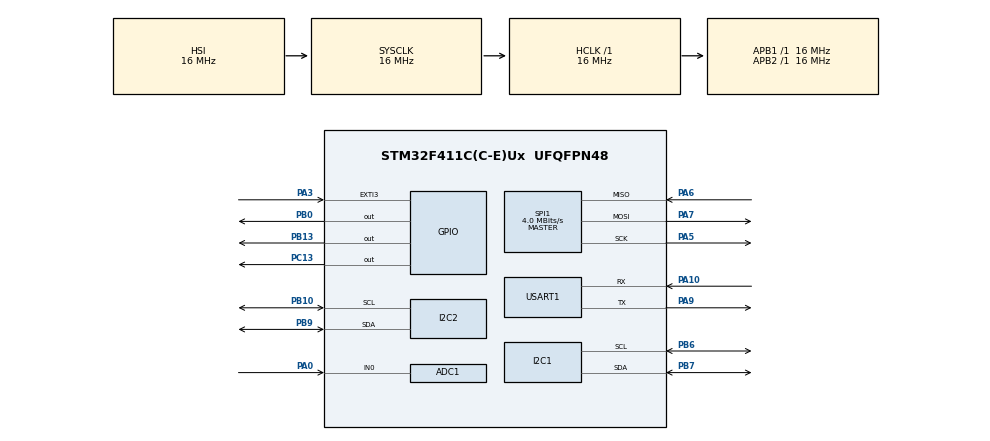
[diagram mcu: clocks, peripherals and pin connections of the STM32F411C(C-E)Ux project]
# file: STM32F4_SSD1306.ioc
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ADC1.Channel-0\#ChannelRegularConversion=ADC_CHANNEL_0
ADC1.NbrOfConversionFlag=1
ADC1.Rank-0\#ChannelRegularConversion=1
ADC1.SamplingTime-0\#ChannelRegularConversion=ADC_SAMPLETIME_3CYCLES
ADC1.master=1
Mcu.Family=STM32F4
Mcu.Name=STM32F411C(C-E)Ux
Mcu.Package=UFQFPN48
NVIC.EXTI3_IRQn=true\:1\:0\:true\:false\:true\:true\:true\:true
NVIC.PriorityGroup=NVIC_PRIORITYGROUP_4
NVIC.SPI1_IRQn=true\:10\:0\:true\:false\:true\:true\:true\:true
NVIC.TIM2_IRQn=true\:14\:0\:true\:false\:true\:true\:true\:true
NVIC.USART1_IRQn=true\:3\:0\:true\:false\:true\:true\:true\:true
PA0-WKUP.Signal=ADCx_IN0
PA10.Mode=Asynchronous
PA10.Signal=USART1_RX
PA13.Mode=Serial_Wire
PA13.Signal=SYS_JTMS-SWDIO
PA14.Mode=Serial_Wire
PA14.Signal=SYS_JTCK-SWCLK
PA3.GPIO_ModeDefaultEXTI=GPIO_MODE_IT_FALLING
PA3.GPIO_PuPd=GPIO_PULLUP
PA3.Signal=GPXTI3
PA5.Mode=Full_Duplex_Master
PA5.Signal=SPI1_SCK
PA6.Mode=Full_Duplex_Master
PA6.Signal=SPI1_MISO
PA7.Mode=Full_Duplex_Master
PA7.Signal=SPI1_MOSI
PA9.Mode=Asynchronous
PA9.Signal=USART1_TX
PB0.PinState=GPIO_PIN_SET
PB0.Signal=GPIO_Output
PB10.Mode=I2C
PB10.Signal=I2C2_SCL
PB13.Signal=GPIO_Output
PB6.Mode=I2C
PB6.Signal=I2C1_SCL
PB7.Mode=I2C
PB7.Signal=I2C1_SDA
PB9.Mode=I2C
PB9.Signal=I2C2_SDA
PC13-ANTI_TAMP.Signal=GPIO_Output
ProjectManager.HeapSize=0x200
ProjectManager.StackSize=0x400
ProjectManager.TargetToolchain=STM32CubeIDE
RCC.48MHZClocksFreq_Value=48000000
RCC.AHBFreq_Value=16000000
RCC.APB1Freq_Value=16000000
RCC.APB1TimFreq_Value=16000000
RCC.APB2Freq_Value=16000000
RCC.APB2TimFreq_Value=16000000
RCC.CortexFreq_Value=16000000
RCC.HCLKFreq_Value=16000000
RCC.HSE_VALUE=25000000
RCC.HSI_VALUE=16000000
RCC.LSE_VALUE=32768
RCC.PLLP=RCC_PLLP_DIV8
RCC.SYSCLKFreq_VALUE=16000000
RCC.VCOOutputFreq_Value=192000000
SH.ADCx_IN0.0=ADC1_IN0,IN0
SPI1.BaudRatePrescaler=SPI_BAUDRATEPRESCALER_4
SPI1.CalculateBaudRate=4.0 MBits/s
SPI1.Direction=SPI_DIRECTION_2LINES
SPI1.Mode=SPI_MODE_MASTER
SPI1.VirtualType=VM_MASTER
TIM2.Period=999
TIM2.Prescaler=16
TIM3.Prescaler=16
USART1.VirtualMode=VM_ASYNC
VP_TIM2_VS_ClockSourceINT.Mode=Internal
VP_TIM3_VS_ClockSourceINT.Mode=Internal
board=custom

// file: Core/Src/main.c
/* USER CODE BEGIN Header */
/**
 ******************************************************************************
 * @file           : main.c
 * @brief          : Main program body
 ******************************************************************************
 * @attention
 *
 * Copyright (c) 2023 STMicroelectronics.
 * All rights reserved.
 *
 * This software is licensed under terms that can be found in the LICENSE file
 * in the root directory of this software component.
 * If no LICENSE file comes with this software, it is provided AS-IS.
 *
 ******************************************************************************
 */
/* USER CODE END Header */
#include "main.h"

/* USER CODE BEGIN Includes */
#include "stdio.h"
#include "stdbool.h"
#include "stdlib.h"
#include "stdint.h"
#include "SSD1306/ssd1306.h"
#include "SSD1306/menu.h"
#include "string.h"
#include "DHT11/dht.h"
#include "MQ135/MQ135.h"
#include "DS1307/DS1307.h"
#include "W25Q32/W25Q32.h"
/* USER CODE END Includes */

/* USER CODE BEGIN PD */
#define FLASH_SECTOR		4096			// 4KB
#define FLASH_ARRAY_SIZE	1024			// 1024 * FLASH_SECTOR_SIZE
/* USER CODE END PD */

ADC_HandleTypeDef hadc1;

I2C_HandleTypeDef hi2c1;
I2C_HandleTypeDef hi2c2;

SPI_HandleTypeDef hspi1;

TIM_HandleTypeDef htim2;
TIM_HandleTypeDef htim3;

UART_HandleTypeDef huart1;

/* USER CODE BEGIN PV */
bool rx_spi_flg;
uint64_t sys_tick = 0;					// 1ms
uint64_t last_tick = 0;
uint64_t get_inf_tick = 0;
bool btn1_status = false;
uint8_t menu_ind0 = 0;
uint8_t last_meu_ind0 = 0;
uint8_t menu_ind1 = 0;
uint8_t last_meu_ind1 = 0;
uint8_t menu_ind2 = 0;
uint8_t last_meu_ind2 = 0;
uint8_t menu_lv = 0;
uint8_t last_menu_lv = 0;
uint8_t menu_i[3];
uint8_t last_menu_i[3];

uint8_t uart_buff_cnt = 0;
uint8_t chr;						// get byte from uart
uint8_t tx_buf[100];
uint8_t rx_buf[100];
uint8_t uart_buf_overflow = 0;
bool rx_done = 0;
uint64_t uart_last_receive = 0;
const uint8_t UART_TIMEOUT = 1;		// uart timeout

char *DayOfWeek[] = { "Sunday", "Monday", "Tuesday", "Wednesday", "Thursday",
		"Friday", "Saturday" };
uint8_t *day;
uint8_t temp[200];
uint8_t rsp[] = "\tOK\n";
uint32_t ADC_val;
int dow_u, sec_u, min_u, hrs_u, date_u, mon_u;
int year_u;

Air_param_t aqi1;
DS1307_param_t ds1307;
dht11_t dht11;

uint8_t rx_spi[64];
uint16_t fl_i = 0;				// flash array index
uint8_t value[100];
/* byte 0: temperature
 * byte 1: humidity
 * byte 2(hi), 3(lo): acetone
 * byte 4(hi), 5(lo): alcohol
 * byte 6(hi), 7(lo): CO
 * byte 8(hi), 9(lo): CO2
 * byte 10(hi), 11(lo): NH4
 * byte 12(hi), 13(lo): Toluen
 */
uint16_t dataReg[8];

uint8_t er_dht1[] = "ER1 - Can't get DHT11 value";
uint8_t er_mq1[] = "ER2 - Can't get MQ135 value";
/* USER CODE END PV */

void SystemClock_Config(void);
static void MX_GPIO_Init(void);
static void MX_I2C1_Init(void);
static void MX_TIM2_Init(void);
static void MX_USART1_UART_Init(void);
static void MX_ADC1_Init(void);
static void MX_I2C2_Init(void);
static void MX_TIM3_Init(void);
static void MX_SPI1_Init(void);
/* USER CODE BEGIN PFP */
void Update_Screen(I2C_HandleTypeDef *hi2c);
void Display_First_Screen(I2C_HandleTypeDef *hi2c);
void HAL_GPIO_EXTI_Callback(uint16_t GPIO_Pin);
void Update_Screen(I2C_HandleTypeDef *hi2c);

void getValue();
void saveValue();				// write value to W25Q32
void readValue(uint16_t index);				// read value from W25Q32

void HandleCommand();
void HAL_UART_RxCpltCallback(UART_HandleTypeDef *huart);
void HAL_SPI_TxRxCpltCallback(SPI_HandleTypeDef *hspi);
uint8_t* checkDay_i(uint8_t dow);
uint8_t checkDay_a(uint8_t *Day);

void HAL_ADC_ConvCpltCallback(ADC_HandleTypeDef *hadc);
void getADC_value(ADC_HandleTypeDef *hadc, uint32_t Timeout, uint32_t *ADC_val);
/* USER CODE END PFP */

int main(void) {

	/* MCU Configuration--------------------------------------------------------*/

	/* Reset of all peripherals, Initializes the Flash interface and the Systick. */
	HAL_Init();

	/* Configure the system clock */
	SystemClock_Config();

	/* Initialize all configured peripherals */
	MX_GPIO_Init();
	MX_I2C1_Init();
	MX_TIM2_Init();
	MX_USART1_UART_Init();
	MX_ADC1_Init();
	MX_I2C2_Init();
	MX_TIM3_Init();
	MX_SPI1_Init();
	/* USER CODE BEGIN 2 */
	HAL_TIM_Base_Start_IT(&htim2);
	HAL_TIM_Base_Start(&htim3);
	ssd1306_Init(&hi2c1);
	W25Q32_Init(&hspi1, GPIOB, GPIO_PIN_0);
	init_dht11(&dht11, &htim3, GPIOB, GPIO_PIN_13);
	DS1307_config(&hi2c2);
	DS1307_settime(&hi2c2, 00, 33, 14, 6, 8, 9, 2023);
	HAL_UART_Receive_IT(&huart1, &chr, sizeof(chr));
	HAL_GPIO_WritePin(GPIOC, GPIO_PIN_13, 0);
	Display_First_Screen(&hi2c1);
	/* USER CODE END 2 */

	/* Infinite loop */
	/* USER CODE BEGIN WHILE */
	while (1) {
		HandleCommand();
		if (sys_tick - get_inf_tick >= 10000) {
			DS1307_gettime(&hi2c2, &ds1307);
			day = checkDay_i(ds1307.dow);
			sprintf((char*) tx_buf, "[%d]\n%-9s %02d:%02d:%02d %02d/%02d/%d\n",
					(int) (sys_tick / 1000), day, ds1307.hour, ds1307.min,
					ds1307.sec, ds1307.date, ds1307.month, ds1307.year);
			HAL_UART_Transmit(&huart1, tx_buf, strlen((char*) tx_buf), 200);
			memset(tx_buf, 0, strlen((char*) tx_buf));
			HAL_GPIO_TogglePin(GPIOC, GPIO_PIN_13);
			getADC_value(&hadc1, 1000, &ADC_val);
			readDHT11(&dht11);
//		sprintf((char*) temp, "%d %d aaa\n", (int) dht11.temperature,
//				(int) dht11.humidty);
//		HAL_UART_Transmit(&huart1, temp, strlen((char*) temp), 200);
//		memset(tx_buf, 0, strlen((char*) tx_buf));
			if (dht11.temperature == 0 || dht11.humidty == 0) {
				getAQI_val(&aqi1, ADC_val);
				if (ADC_val == 0) {
					HAL_UART_Transmit(&huart1, er_mq1, strlen((char*) er_mq1),
							200);
				} else {
					HAL_UART_Transmit(&huart1, er_dht1, strlen((char*) er_dht1),
							200);
					sprintf((char*) temp,
							"Acetone: %d  Alcohol: %d  CO: %d  CO2: %d  NH4: %d  Toluene: %d  ADC value: %d\n\n",
							(int) aqi1.Acetone, (int) aqi1.Alcohol,
							(int) aqi1.CO, (int) aqi1.CO2, (int) aqi1.NH4,
							(int) aqi1.Toluene, (int) ADC_val);
					HAL_UART_Transmit(&huart1, temp, strlen((char*) temp), 200);
					memset(temp, 0, sizeof(temp));
				}
			} else {
				if (ADC_val == 0) {
					HAL_UART_Transmit(&huart1, er_mq1, strlen((char*) er_mq1),
							200);
				} else {
					getAQI_Correctval(&aqi1, dht11.temperature, dht11.humidty,
							ADC_val);
					sprintf((char*) temp,
							"Acetone: %d  Alcohol: %d  CO: %d  CO2: %d  NH4: %d  Toluene: %d  ADC value: %d\nTemperature: %d  Humidity: %d\n\n",
							(int) aqi1.Acetone, (int) aqi1.Alcohol,
							(int) aqi1.CO, (int) aqi1.CO2, (int) aqi1.NH4,
							(int) aqi1.Toluene, (int) ADC_val,
							(int) dht11.temperature, (int) dht11.humidty);
					HAL_UART_Transmit(&huart1, temp, strlen((char*) temp), 200);
					memset(temp, 0, sizeof(temp));
				}
			}
			saveValue();
			get_inf_tick = sys_tick;
		}
		Update_Screen(&hi2c1);
	}
	/* USER CODE END WHILE */

}

void SystemClock_Config(void) {
	RCC_OscInitTypeDef RCC_OscInitStruct = { 0 };
	RCC_ClkInitTypeDef RCC_ClkInitStruct = { 0 };

	/** Configure the main internal regulator output voltage
	 */
	__HAL_RCC_PWR_CLK_ENABLE();
	__HAL_PWR_VOLTAGESCALING_CONFIG(PWR_REGULATOR_VOLTAGE_SCALE1);

	/** Initializes the RCC Oscillators according to the specified parameters
	 * in the RCC_OscInitTypeDef structure.
	 */
	RCC_OscInitStruct.OscillatorType = RCC_OSCILLATORTYPE_HSI;
	RCC_OscInitStruct.HSIState = RCC_HSI_ON;
	RCC_OscInitStruct.HSICalibrationValue = RCC_HSICALIBRATION_DEFAULT;
	RCC_OscInitStruct.PLL.PLLState = RCC_PLL_NONE;
	if (HAL_RCC_OscConfig(&RCC_OscInitStruct) != HAL_OK) {
		Error_Handler();
	}

	/** Initializes the CPU, AHB and APB buses clocks
	 */
	RCC_ClkInitStruct.ClockType = RCC_CLOCKTYPE_HCLK | RCC_CLOCKTYPE_SYSCLK
			| RCC_CLOCKTYPE_PCLK1 | RCC_CLOCKTYPE_PCLK2;
	RCC_ClkInitStruct.SYSCLKSource = RCC_SYSCLKSOURCE_HSI;
	RCC_ClkInitStruct.AHBCLKDivider = RCC_SYSCLK_DIV1;
	RCC_ClkInitStruct.APB1CLKDivider = RCC_HCLK_DIV1;
	RCC_ClkInitStruct.APB2CLKDivider = RCC_HCLK_DIV1;

	if (HAL_RCC_ClockConfig(&RCC_ClkInitStruct, FLASH_LATENCY_0) != HAL_OK) {
		Error_Handler();
	}
}

static void MX_ADC1_Init(void) {

	ADC_ChannelConfTypeDef sConfig = { 0 };

	/** Configure the global features of the ADC (Clock, Resolution, Data Alignment and number of conversion)
	 */
	hadc1.Instance = ADC1;
	hadc1.Init.ClockPrescaler = ADC_CLOCK_SYNC_PCLK_DIV2;
	hadc1.Init.Resolution = ADC_RESOLUTION_12B;
	hadc1.Init.ScanConvMode = DISABLE;
	hadc1.Init.ContinuousConvMode = DISABLE;
	hadc1.Init.DiscontinuousConvMode = DISABLE;
	hadc1.Init.ExternalTrigConvEdge = ADC_EXTERNALTRIGCONVEDGE_NONE;
	hadc1.Init.ExternalTrigConv = ADC_SOFTWARE_START;
	hadc1.Init.DataAlign = ADC_DATAALIGN_RIGHT;
	hadc1.Init.NbrOfConversion = 1;
	hadc1.Init.DMAContinuousRequests = DISABLE;
	hadc1.Init.EOCSelection = ADC_EOC_SINGLE_CONV;
	if (HAL_ADC_Init(&hadc1) != HAL_OK) {
		Error_Handler();
	}

	/** Configure for the selected ADC regular channel its corresponding rank in the sequencer and its sample time.
	 */
	sConfig.Channel = ADC_CHANNEL_0;
	sConfig.Rank = 1;
	sConfig.SamplingTime = ADC_SAMPLETIME_3CYCLES;
	if (HAL_ADC_ConfigChannel(&hadc1, &sConfig) != HAL_OK) {
		Error_Handler();
	}

}

static void MX_I2C1_Init(void) {

	hi2c1.Instance = I2C1;
	hi2c1.Init.ClockSpeed = 100000;
	hi2c1.Init.DutyCycle = I2C_DUTYCYCLE_2;
	hi2c1.Init.OwnAddress1 = 0;
	hi2c1.Init.AddressingMode = I2C_ADDRESSINGMODE_7BIT;
	hi2c1.Init.DualAddressMode = I2C_DUALADDRESS_DISABLE;
	hi2c1.Init.OwnAddress2 = 0;
	hi2c1.Init.GeneralCallMode = I2C_GENERALCALL_DISABLE;
	hi2c1.Init.NoStretchMode = I2C_NOSTRETCH_DISABLE;
	if (HAL_I2C_Init(&hi2c1) != HAL_OK) {
		Error_Handler();
	}

}

static void MX_I2C2_Init(void) {

	hi2c2.Instance = I2C2;
	hi2c2.Init.ClockSpeed = 100000;
	hi2c2.Init.DutyCycle = I2C_DUTYCYCLE_2;
	hi2c2.Init.OwnAddress1 = 0;
	hi2c2.Init.AddressingMode = I2C_ADDRESSINGMODE_7BIT;
	hi2c2.Init.DualAddressMode = I2C_DUALADDRESS_DISABLE;
	hi2c2.Init.OwnAddress2 = 0;
	hi2c2.Init.GeneralCallMode = I2C_GENERALCALL_DISABLE;
	hi2c2.Init.NoStretchMode = I2C_NOSTRETCH_DISABLE;
	if (HAL_I2C_Init(&hi2c2) != HAL_OK) {
		Error_Handler();
	}

}

static void MX_SPI1_Init(void) {

	/* SPI1 parameter configuration*/
	hspi1.Instance = SPI1;
	hspi1.Init.Mode = SPI_MODE_MASTER;
	hspi1.Init.Direction = SPI_DIRECTION_2LINES;
	hspi1.Init.DataSize = SPI_DATASIZE_8BIT;
	hspi1.Init.CLKPolarity = SPI_POLARITY_LOW;
	hspi1.Init.CLKPhase = SPI_PHASE_1EDGE;
	hspi1.Init.NSS = SPI_NSS_SOFT;
	hspi1.Init.BaudRatePrescaler = SPI_BAUDRATEPRESCALER_4;
	hspi1.Init.FirstBit = SPI_FIRSTBIT_MSB;
	hspi1.Init.TIMode = SPI_TIMODE_DISABLE;
	hspi1.Init.CRCCalculation = SPI_CRCCALCULATION_DISABLE;
	hspi1.Init.CRCPolynomial = 10;
	if (HAL_SPI_Init(&hspi1) != HAL_OK) {
		Error_Handler();
	}

}

static void MX_TIM2_Init(void) {

	TIM_ClockConfigTypeDef sClockSourceConfig = { 0 };
	TIM_MasterConfigTypeDef sMasterConfig = { 0 };

	htim2.Instance = TIM2;
	htim2.Init.Prescaler = 16;
	htim2.Init.CounterMode = TIM_COUNTERMODE_UP;
	htim2.Init.Period = 999;
	htim2.Init.ClockDivision = TIM_CLOCKDIVISION_DIV1;
	htim2.Init.AutoReloadPreload = TIM_AUTORELOAD_PRELOAD_DISABLE;
	if (HAL_TIM_Base_Init(&htim2) != HAL_OK) {
		Error_Handler();
	}
	sClockSourceConfig.ClockSource = TIM_CLOCKSOURCE_INTERNAL;
	if (HAL_TIM_ConfigClockSource(&htim2, &sClockSourceConfig) != HAL_OK) {
		Error_Handler();
	}
	sMasterConfig.MasterOutputTrigger = TIM_TRGO_RESET;
	sMasterConfig.MasterSlaveMode = TIM_MASTERSLAVEMODE_DISABLE;
	if (HAL_TIMEx_MasterConfigSynchronization(&htim2, &sMasterConfig)
			!= HAL_OK) {
		Error_Handler();
	}

}

static void MX_TIM3_Init(void) {

	TIM_ClockConfigTypeDef sClockSourceConfig = { 0 };
	TIM_MasterConfigTypeDef sMasterConfig = { 0 };

	htim3.Instance = TIM3;
	htim3.Init.Prescaler = 16;
	htim3.Init.CounterMode = TIM_COUNTERMODE_UP;
	htim3.Init.Period = 65535;
	htim3.Init.ClockDivision = TIM_CLOCKDIVISION_DIV1;
	htim3.Init.AutoReloadPreload = TIM_AUTORELOAD_PRELOAD_DISABLE;
	if (HAL_TIM_Base_Init(&htim3) != HAL_OK) {
		Error_Handler();
	}
	sClockSourceConfig.ClockSource = TIM_CLOCKSOURCE_INTERNAL;
	if (HAL_TIM_ConfigClockSource(&htim3, &sClockSourceConfig) != HAL_OK) {
		Error_Handler();
	}
	sMasterConfig.MasterOutputTrigger = TIM_TRGO_RESET;
	sMasterConfig.MasterSlaveMode = TIM_MASTERSLAVEMODE_DISABLE;
	if (HAL_TIMEx_MasterConfigSynchronization(&htim3, &sMasterConfig)
			!= HAL_OK) {
		Error_Handler();
	}

}

static void MX_USART1_UART_Init(void) {

	huart1.Instance = USART1;
	huart1.Init.BaudRate = 115200;
	huart1.Init.WordLength = UART_WORDLENGTH_8B;
	huart1.Init.StopBits = UART_STOPBITS_1;
	huart1.Init.Parity = UART_PARITY_NONE;
	huart1.Init.Mode = UART_MODE_TX_RX;
	huart1.Init.HwFlowCtl = UART_HWCONTROL_NONE;
	huart1.Init.OverSampling = UART_OVERSAMPLING_16;
	if (HAL_UART_Init(&huart1) != HAL_OK) {
		Error_Handler();
	}

}

static void MX_GPIO_Init(void) {
	GPIO_InitTypeDef GPIO_InitStruct = { 0 };

	/* GPIO Ports Clock Enable */
	__HAL_RCC_GPIOC_CLK_ENABLE();
	__HAL_RCC_GPIOA_CLK_ENABLE();
	__HAL_RCC_GPIOB_CLK_ENABLE();

	/*Configure GPIO pin Output Level */
	HAL_GPIO_WritePin(GPIOC, GPIO_PIN_13, GPIO_PIN_RESET);

	/*Configure GPIO pin Output Level */
	HAL_GPIO_WritePin(GPIOB, GPIO_PIN_0, GPIO_PIN_SET);

	/*Configure GPIO pin Output Level */
	HAL_GPIO_WritePin(GPIOB, GPIO_PIN_13, GPIO_PIN_RESET);

	/*Configure GPIO pin : PC13 */
	GPIO_InitStruct.Pin = GPIO_PIN_13;
	GPIO_InitStruct.Mode = GPIO_MODE_OUTPUT_PP;
	GPIO_InitStruct.Pull = GPIO_NOPULL;
	GPIO_InitStruct.Speed = GPIO_SPEED_FREQ_LOW;
	HAL_GPIO_Init(GPIOC, &GPIO_InitStruct);

	/*Configure GPIO pin : PA3 */
	GPIO_InitStruct.Pin = GPIO_PIN_3;
	GPIO_InitStruct.Mode = GPIO_MODE_IT_FALLING;
	GPIO_InitStruct.Pull = GPIO_PULLUP;
	HAL_GPIO_Init(GPIOA, &GPIO_InitStruct);

	/*Configure GPIO pins : PB0 PB13 */
	GPIO_InitStruct.Pin = GPIO_PIN_0 | GPIO_PIN_13;
	GPIO_InitStruct.Mode = GPIO_MODE_OUTPUT_PP;
	GPIO_InitStruct.Pull = GPIO_NOPULL;
	GPIO_InitStruct.Speed = GPIO_SPEED_FREQ_LOW;
	HAL_GPIO_Init(GPIOB, &GPIO_InitStruct);

	/* EXTI interrupt init*/
	HAL_NVIC_SetPriority(EXTI3_IRQn, 1, 0);
	HAL_NVIC_EnableIRQ(EXTI3_IRQn);

}

/* USER CODE BEGIN 4 */
void Update_Screen(I2C_HandleTypeDef *hi2c) {
	if (last_meu_ind0 != menu_ind0) {
		ssd1306_Fill(Black);
		ssd1306_DrawBitmap(0, 0, menu[menu_ind0], 128, 64, White);
		ssd1306_UpdateScreen(hi2c);
		last_meu_ind0 = menu_ind0;
	}
}

void Display_First_Screen(I2C_HandleTypeDef *hi2c) {
	ssd1306_Fill(Black);
	ssd1306_DrawBitmap(0, 0, menu[0], 128, 64, White);
	ssd1306_UpdateScreen(hi2c);
}

void HAL_GPIO_EXTI_Callback(uint16_t GPIO_Pin) {
	UNUSED(GPIO_Pin);
	if (GPIO_Pin == GPIO_PIN_3 && sys_tick - last_tick >= 200) {
		menu_ind0 = (menu_ind0 + 1) % 4;
		last_tick = sys_tick;
//		switch (menu_lv) {
//		case 0:
//			menu_i[0] = (menu_i[0] + 1) % 4;
//			break;
//		case 1:
//			if (menu_i[0] == 3)
//				menu_i[1] = (menu_i[1] + 1) % 6;
//			break;
	}
//	} else if (GPIO_Pin == GPIO_PIN_4 && sys_tick - last_tick >= 200) {
//		menu_ind0--;
//		if (menu_ind0 < 0)
//			menu_ind0 = menu_len - 1;
//		last_tick = sys_tick;
//	} else if (GPIO_Pin == GPIO_PIN_5 && sys_tick - last_tick >= 200) {
//		switch (last_menu_lv) {
//		case 0:
//			menu_lv++;
//			break;
//		case 1:
//		if ()
//	}
//} else if (GPIO_Pin == GPIO_PIN_6 && sys_tick - last_tick >= 200) {
//	menu_ind0--;
//	if (menu_ind0 < 0)
//		menu_ind0 = menu_len - 1;
//	last_tick = sys_tick;
//}
}

void HAL_TIM_PeriodElapsedCallback(TIM_HandleTypeDef *htim) {
	if (htim->Instance == htim2.Instance) {
		sys_tick++;
		if (sys_tick >= 0xFFFFFFFFFFFFFFFF)
			sys_tick = 0;
	}
}

unsigned char* checkDay_i(uint8_t dow) {
	return (unsigned char*) DayOfWeek[dow - 1];
}

uint8_t checkDay_a(uint8_t *Day) {
	uint8_t i;
	for (i = 0; i < 7; i++) {
		if (strcmp((char*) Day, (char*) DayOfWeek[i]) == 0)
			break;
	}
	return i + 1;
}

void HAL_UART_RxCpltCallback(UART_HandleTypeDef *huart) {
	if (huart->Instance == huart1.Instance) {
		rx_done = true;
		if (uart_buff_cnt < sizeof(rx_buf)) {
			rx_buf[uart_buff_cnt] = chr;
		} else
			uart_buf_overflow = 1;
		uart_last_receive = sys_tick;
		uart_buff_cnt++;
		HAL_UART_Receive_IT(&huart1, &chr, sizeof(chr));
	}
}

void HAL_SPI_TxRxCpltCallback(SPI_HandleTypeDef *hspi) {
	if (hspi->Instance == hspi1.Instance) {
		rx_spi_flg = 1;
	}
}

void getADC_value(ADC_HandleTypeDef *hadc, uint32_t Timeout, uint32_t *ADC_val) {
	HAL_ADC_Start(&hadc1);
	HAL_ADC_PollForConversion(&hadc1, 1000);
	*ADC_val = HAL_ADC_GetValue(&hadc1);
	HAL_ADC_Stop(&hadc1);
}
//void getValue() {
//	value[0] = dht11.temperature;
//	value[1] = dht11.humidty;
//	value[2] = aqi1.Acetone >> 8;
//	value[3] = aqi1.Acetone & 0xFF;
//	value[4] = aqi1.Alcohol >> 8;
//	value[5] = aqi1.Alcohol & 0xFF;
//	value[6] = aqi1.CO >> 8;
//	value[7] = aqi1.CO & 0xFF;
//	value[8] = aqi1.CO2 >> 8;
//	value[9] = aqi1.CO2 & 0xFF;
//	value[10] = aqi1.NH4 >> 8;
//	value[11] = aqi1.NH4 & 0xFF;
//	value[12] = aqi1.Toluene >> 8;
//	value[13] = aqi1.Toluene & 0xFF;
//}

void saveValue() {
	value[0] = dht11.temperature;
	value[1] = dht11.humidty;
	value[2] = (uint8_t) (aqi1.Acetone >> 8);
	value[3] = (uint8_t) (aqi1.Acetone & 0xFF);
	value[4] = (uint8_t) (aqi1.Alcohol >> 8);
	value[5] = (uint8_t) (aqi1.Alcohol & 0xFF);
	value[6] = (uint8_t) (aqi1.CO >> 8);
	value[7] = (uint8_t) (aqi1.CO & 0xFF);
	value[8] = (uint8_t) (aqi1.CO2 >> 8);
	value[9] = (uint8_t) (aqi1.CO2 & 0xFF);
	value[10] = (uint8_t) (aqi1.NH4 >> 8);
	value[11] = (uint8_t) (aqi1.NH4 & 0xFF);
	value[12] = (uint8_t) (aqi1.Toluene >> 8);
	value[13] = (uint8_t) (aqi1.Toluene & 0xFF);
	W25Q32_erase4k(fl_i * FLASH_SECTOR);
	W25Q32_WriteData(value, fl_i * FLASH_SECTOR, 14);
	fl_i = (fl_i + 1) % FLASH_ARRAY_SIZE;
}
void readValue(uint16_t index) {
	W25Q32_ReadData(rx_spi, index * FLASH_SECTOR, 14);
	dataReg[0] = rx_spi[0];
	dataReg[1] = rx_spi[1];
	dataReg[2] = (uint16_t) (rx_spi[2] << 8) + (uint16_t) rx_spi[3];
	dataReg[3] = (uint16_t) (rx_spi[4] << 8) + (uint16_t) rx_spi[5];
	dataReg[4] = (uint16_t) (rx_spi[6] << 8) + (uint16_t) rx_spi[7];
	dataReg[5] = (uint16_t) (rx_spi[8] << 8) + (uint16_t) rx_spi[9];
	dataReg[6] = (uint16_t) (rx_spi[10] << 8) + (uint16_t) rx_spi[11];
	dataReg[7] = (uint16_t) (rx_spi[12] << 8) + (uint16_t) rx_spi[13];
}

void HandleCommand() {
	if ((sys_tick - uart_last_receive > 1 && uart_buff_cnt > 2)
			|| uart_buf_overflow) {
		if (strncmp((char*) rx_buf, "time:", 5) == 0) {
			sscanf((char*) rx_buf + 5, "%d %d:%d:%d %d/%d/%d", &dow_u, &hrs_u,
					&min_u, &sec_u, &date_u, &mon_u, &year_u);
			DS1307_settime(&hi2c2, (uint8_t) sec_u, (uint8_t) min_u,
					(uint8_t) hrs_u, (uint8_t) dow_u, (uint8_t) date_u,
					(uint8_t) mon_u, (uint16_t) year_u);
			sprintf((char*) tx_buf, "%d OK\n", (int) (sys_tick / 1000));
			HAL_UART_Transmit(&huart1, tx_buf, strlen((char*) tx_buf), 200);
			memset(tx_buf, 0, sizeof(tx_buf));
		} else if (strncmp((char*) rx_buf, "read:", 5) == 0) {
			int ind;
			sscanf((char*) rx_buf + 5, "%d", &ind);
			readValue(ind);
			sprintf((char*) tx_buf, "\n[%d] %d %d %d %d %d %d %d %d\n",
					(int) (sys_tick / 1000), dataReg[0], dataReg[1], dataReg[2],
					dataReg[3], dataReg[4], dataReg[5], dataReg[6], dataReg[7]);
			HAL_UART_Transmit(&huart1, tx_buf, strlen((char*) tx_buf), 200);
			memset(tx_buf, 0, sizeof(tx_buf));
		} else {
			sprintf((char*) tx_buf, "%d Incorrect command\n",
					(int) (sys_tick / 1000));
			HAL_UART_Transmit(&huart1, tx_buf, strlen((char*) tx_buf), 200);
			memset(tx_buf, 0, sizeof(tx_buf));
		}
		memset(rx_buf, 0, sizeof(rx_buf));
		uart_buff_cnt = 0;
	}
}

/* USER CODE END 4 */

void Error_Handler(void) {
	__disable_irq();
	while (1) {
	}
}
